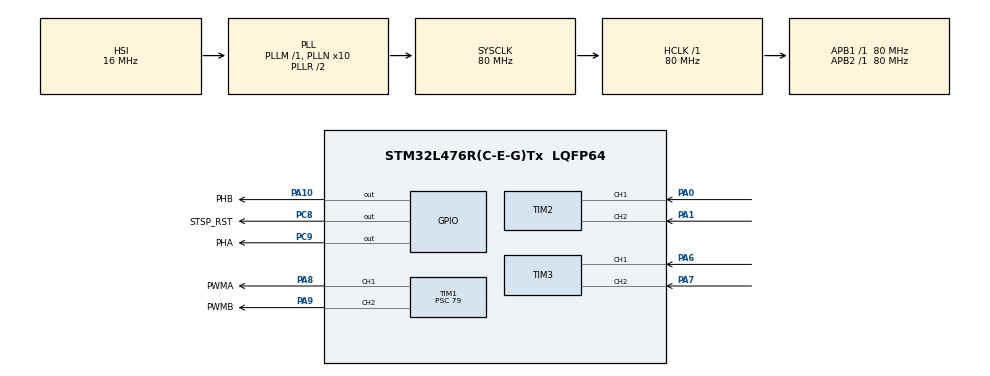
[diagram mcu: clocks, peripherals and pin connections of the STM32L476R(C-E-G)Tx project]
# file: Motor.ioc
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Mcu.Family=STM32L4
Mcu.Name=STM32L476R(C-E-G)Tx
Mcu.Package=LQFP64
NVIC.PriorityGroup=NVIC_PRIORITYGROUP_4
PA0.Signal=S_TIM2_CH1
PA1.Signal=S_TIM2_CH2
PA10.GPIO_Label=PHB
PA10.Signal=GPIO_Output
PA13\ (JTMS-SWDIO).Mode=Serial_Wire
PA13\ (JTMS-SWDIO).Signal=SYS_JTMS-SWDIO
PA14\ (JTCK-SWCLK).Mode=Serial_Wire
PA14\ (JTCK-SWCLK).Signal=SYS_JTCK-SWCLK
PA6.Signal=S_TIM3_CH1
PA7.Signal=S_TIM3_CH2
PA8.GPIO_Label=PWMA
PA8.Signal=S_TIM1_CH1
PA9.GPIO_Label=PWMB
PA9.Signal=S_TIM1_CH2
PC8.GPIO_Label=STSP_RST
PC8.Signal=GPIO_Output
PC9.GPIO_Label=PHA
PC9.Signal=GPIO_Output
ProjectManager.HeapSize=0x200
ProjectManager.StackSize=0x400
ProjectManager.TargetToolchain=MDK-ARM V5.32
RCC.ADCFreq_Value=64000000
RCC.AHBFreq_Value=80000000
RCC.APB1Freq_Value=80000000
RCC.APB1TimFreq_Value=80000000
RCC.APB2Freq_Value=80000000
RCC.APB2TimFreq_Value=80000000
RCC.CortexFreq_Value=80000000
RCC.HCLKFreq_Value=80000000
RCC.HSE_VALUE=8000000
RCC.HSI_VALUE=16000000
RCC.LSE_VALUE=32768
RCC.MSI_VALUE=4000000
RCC.PLLN=10
RCC.PLLSourceVirtual=RCC_PLLSOURCE_HSI
RCC.SYSCLKFreq_VALUE=80000000
RCC.SYSCLKSource=RCC_SYSCLKSOURCE_PLLCLK
RCC.USBFreq_Value=64000000
RCC.VCOOutputFreq_Value=160000000
SH.S_TIM1_CH1.0=TIM1_CH1,PWM Generation1 CH1
SH.S_TIM1_CH2.0=TIM1_CH2,PWM Generation2 CH2
SH.S_TIM2_CH1.0=TIM2_CH1,Encoder_Interface
SH.S_TIM2_CH2.0=TIM2_CH2,Encoder_Interface
SH.S_TIM3_CH1.0=TIM3_CH1,Encoder_Interface
SH.S_TIM3_CH2.0=TIM3_CH2,Encoder_Interface
TIM1.Channel-PWM\ Generation1\ CH1=TIM_CHANNEL_1
TIM1.Channel-PWM\ Generation2\ CH2=TIM_CHANNEL_2
TIM1.Period=999
TIM1.Prescaler=79
VP_TIM1_VS_ClockSourceINT.Mode=Internal
board=custom

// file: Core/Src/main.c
/* USER CODE BEGIN Header */
/**
  ******************************************************************************
  * @file           : main.c
  * @brief          : Main program body
  ******************************************************************************
  * @attention
  *
  * Copyright (c) 2026 STMicroelectronics.
  * All rights reserved.
  *
  * This software is licensed under terms that can be found in the LICENSE file
  * in the root directory of this software component.
  * If no LICENSE file comes with this software, it is provided AS-IS.
  *
  ******************************************************************************
  */
/* USER CODE END Header */
#include "main.h"

/* USER CODE BEGIN Includes */
#include "motor.h"
#include "encoder.h"
/* USER CODE END Includes */

/* USER CODE BEGIN PD */
uint64_t counter_A =0;
uint64_t counter_B =0;
/* USER CODE END PD */

/* USER CODE BEGIN PM */
motor_inst motor1;
motor_inst motor2;

encoder_inst encoder1;
encoder_inst encoder2;

/* USER CODE END PM */

TIM_HandleTypeDef htim1;
TIM_HandleTypeDef htim2;
TIM_HandleTypeDef htim3;

void SystemClock_Config(void);
static void MX_GPIO_Init(void);
static void MX_TIM1_Init(void);
static void MX_TIM3_Init(void);
static void MX_TIM2_Init(void);

int main(void)
{

  /* MCU Configuration--------------------------------------------------------*/

  /* Reset of all peripherals, Initializes the Flash interface and the Systick. */
  HAL_Init();

  /* Configure the system clock */
  SystemClock_Config();

  /* Initialize all configured peripherals */
  MX_GPIO_Init();
  MX_TIM1_Init();
  MX_TIM3_Init();
  MX_TIM2_Init();
  /* USER CODE BEGIN 2 */
//	HAL_TIM_PWM_Start(&htim1, TIM_CHANNEL_1);
//	HAL_TIM_PWM_Start(&htim1, TIM_CHANNEL_2);
	motor_init(&motor1,&htim1,TIM_CHANNEL_1,STSP_RST_GPIO_Port,STSP_RST_Pin,PHB_GPIO_Port,PHB_Pin);
	motor_init(&motor2,&htim1,TIM_CHANNEL_2,STSP_RST_GPIO_Port,STSP_RST_Pin,PHB_GPIO_Port,PHB_Pin);
	enable_motor(&motor1);
	enable_motor(&motor2);

	encoder_init(&encoder1,&htim2,TIM_CHANNEL_1);
	encoder_init(&encoder1,&htim2,TIM_CHANNEL_2);
	encoder_init(&encoder2,&htim3,TIM_CHANNEL_1);
	encoder_init(&encoder2,&htim3,TIM_CHANNEL_2);

  /* USER CODE END 2 */

  /* Infinite loop */
  while (1)
  {

    /* USER CODE BEGIN 3 */
//		pwm_set_duty(&htim1, TIM_CHANNEL_1,50);
//		pwm_set_duty(&htim1, TIM_CHANNEL_2,50);
		//pwm_set_duty(&htim1, TIM_CHANNEL_2,50);
		//enable_motor(&motor1);
		//set_speed_open(&motor1,150);
		//set_speed_open(&motor2,-50);
		counter_A = __HAL_TIM_GET_COUNTER(&htim2);
		counter_B = __HAL_TIM_GET_COUNTER(&htim3);

		get_encoder_speed(&encoder1);
		get_encoder_speed(&encoder2);

  }
  /* USER CODE END 3 */
}

void SystemClock_Config(void)
{
  RCC_OscInitTypeDef RCC_OscInitStruct = {0};
  RCC_ClkInitTypeDef RCC_ClkInitStruct = {0};

  /** Configure the main internal regulator output voltage
  */
  if (HAL_PWREx_ControlVoltageScaling(PWR_REGULATOR_VOLTAGE_SCALE1) != HAL_OK)
  {
    Error_Handler();
  }

  /** Initializes the RCC Oscillators according to the specified parameters
  * in the RCC_OscInitTypeDef structure.
  */
  RCC_OscInitStruct.OscillatorType = RCC_OSCILLATORTYPE_HSI;
  RCC_OscInitStruct.HSIState = RCC_HSI_ON;
  RCC_OscInitStruct.HSICalibrationValue = RCC_HSICALIBRATION_DEFAULT;
  RCC_OscInitStruct.PLL.PLLState = RCC_PLL_ON;
  RCC_OscInitStruct.PLL.PLLSource = RCC_PLLSOURCE_HSI;
  RCC_OscInitStruct.PLL.PLLM = 1;
  RCC_OscInitStruct.PLL.PLLN = 10;
  RCC_OscInitStruct.PLL.PLLP = RCC_PLLP_DIV7;
  RCC_OscInitStruct.PLL.PLLQ = RCC_PLLQ_DIV2;
  RCC_OscInitStruct.PLL.PLLR = RCC_PLLR_DIV2;
  if (HAL_RCC_OscConfig(&RCC_OscInitStruct) != HAL_OK)
  {
    Error_Handler();
  }

  /** Initializes the CPU, AHB and APB buses clocks
  */
  RCC_ClkInitStruct.ClockType = RCC_CLOCKTYPE_HCLK|RCC_CLOCKTYPE_SYSCLK
                              |RCC_CLOCKTYPE_PCLK1|RCC_CLOCKTYPE_PCLK2;
  RCC_ClkInitStruct.SYSCLKSource = RCC_SYSCLKSOURCE_PLLCLK;
  RCC_ClkInitStruct.AHBCLKDivider = RCC_SYSCLK_DIV1;
  RCC_ClkInitStruct.APB1CLKDivider = RCC_HCLK_DIV1;
  RCC_ClkInitStruct.APB2CLKDivider = RCC_HCLK_DIV1;

  if (HAL_RCC_ClockConfig(&RCC_ClkInitStruct, FLASH_LATENCY_4) != HAL_OK)
  {
    Error_Handler();
  }
}

static void MX_TIM1_Init(void)
{

  TIM_ClockConfigTypeDef sClockSourceConfig = {0};
  TIM_MasterConfigTypeDef sMasterConfig = {0};
  TIM_OC_InitTypeDef sConfigOC = {0};
  TIM_BreakDeadTimeConfigTypeDef sBreakDeadTimeConfig = {0};

  htim1.Instance = TIM1;
  htim1.Init.Prescaler = 79;
  htim1.Init.CounterMode = TIM_COUNTERMODE_UP;
  htim1.Init.Period = 999;
  htim1.Init.ClockDivision = TIM_CLOCKDIVISION_DIV1;
  htim1.Init.RepetitionCounter = 0;
  htim1.Init.AutoReloadPreload = TIM_AUTORELOAD_PRELOAD_DISABLE;
  if (HAL_TIM_Base_Init(&htim1) != HAL_OK)
  {
    Error_Handler();
  }
  sClockSourceConfig.ClockSource = TIM_CLOCKSOURCE_INTERNAL;
  if (HAL_TIM_ConfigClockSource(&htim1, &sClockSourceConfig) != HAL_OK)
  {
    Error_Handler();
  }
  if (HAL_TIM_PWM_Init(&htim1) != HAL_OK)
  {
    Error_Handler();
  }
  sMasterConfig.MasterOutputTrigger = TIM_TRGO_RESET;
  sMasterConfig.MasterOutputTrigger2 = TIM_TRGO2_RESET;
  sMasterConfig.MasterSlaveMode = TIM_MASTERSLAVEMODE_DISABLE;
  if (HAL_TIMEx_MasterConfigSynchronization(&htim1, &sMasterConfig) != HAL_OK)
  {
    Error_Handler();
  }
  sConfigOC.OCMode = TIM_OCMODE_PWM1;
  sConfigOC.Pulse = 0;
  sConfigOC.OCPolarity = TIM_OCPOLARITY_HIGH;
  sConfigOC.OCNPolarity = TIM_OCNPOLARITY_HIGH;
  sConfigOC.OCFastMode = TIM_OCFAST_DISABLE;
  sConfigOC.OCIdleState = TIM_OCIDLESTATE_RESET;
  sConfigOC.OCNIdleState = TIM_OCNIDLESTATE_RESET;
  if (HAL_TIM_PWM_ConfigChannel(&htim1, &sConfigOC, TIM_CHANNEL_1) != HAL_OK)
  {
    Error_Handler();
  }
  if (HAL_TIM_PWM_ConfigChannel(&htim1, &sConfigOC, TIM_CHANNEL_2) != HAL_OK)
  {
    Error_Handler();
  }
  sBreakDeadTimeConfig.OffStateRunMode = TIM_OSSR_DISABLE;
  sBreakDeadTimeConfig.OffStateIDLEMode = TIM_OSSI_DISABLE;
  sBreakDeadTimeConfig.LockLevel = TIM_LOCKLEVEL_OFF;
  sBreakDeadTimeConfig.DeadTime = 0;
  sBreakDeadTimeConfig.BreakState = TIM_BREAK_DISABLE;
  sBreakDeadTimeConfig.BreakPolarity = TIM_BREAKPOLARITY_HIGH;
  sBreakDeadTimeConfig.BreakFilter = 0;
  sBreakDeadTimeConfig.Break2State = TIM_BREAK2_DISABLE;
  sBreakDeadTimeConfig.Break2Polarity = TIM_BREAK2POLARITY_HIGH;
  sBreakDeadTimeConfig.Break2Filter = 0;
  sBreakDeadTimeConfig.AutomaticOutput = TIM_AUTOMATICOUTPUT_DISABLE;
  if (HAL_TIMEx_ConfigBreakDeadTime(&htim1, &sBreakDeadTimeConfig) != HAL_OK)
  {
    Error_Handler();
  }
  HAL_TIM_MspPostInit(&htim1);

}

static void MX_TIM2_Init(void)
{

  TIM_Encoder_InitTypeDef sConfig = {0};
  TIM_MasterConfigTypeDef sMasterConfig = {0};

  htim2.Instance = TIM2;
  htim2.Init.Prescaler = 0;
  htim2.Init.CounterMode = TIM_COUNTERMODE_UP;
  htim2.Init.Period = 4294967295;
  htim2.Init.ClockDivision = TIM_CLOCKDIVISION_DIV1;
  htim2.Init.AutoReloadPreload = TIM_AUTORELOAD_PRELOAD_DISABLE;
  sConfig.EncoderMode = TIM_ENCODERMODE_TI1;
  sConfig.IC1Polarity = TIM_ICPOLARITY_RISING;
  sConfig.IC1Selection = TIM_ICSELECTION_DIRECTTI;
  sConfig.IC1Prescaler = TIM_ICPSC_DIV1;
  sConfig.IC1Filter = 0;
  sConfig.IC2Polarity = TIM_ICPOLARITY_RISING;
  sConfig.IC2Selection = TIM_ICSELECTION_DIRECTTI;
  sConfig.IC2Prescaler = TIM_ICPSC_DIV1;
  sConfig.IC2Filter = 0;
  if (HAL_TIM_Encoder_Init(&htim2, &sConfig) != HAL_OK)
  {
    Error_Handler();
  }
  sMasterConfig.MasterOutputTrigger = TIM_TRGO_RESET;
  sMasterConfig.MasterSlaveMode = TIM_MASTERSLAVEMODE_DISABLE;
  if (HAL_TIMEx_MasterConfigSynchronization(&htim2, &sMasterConfig) != HAL_OK)
  {
    Error_Handler();
  }

}

static void MX_TIM3_Init(void)
{

  TIM_Encoder_InitTypeDef sConfig = {0};
  TIM_MasterConfigTypeDef sMasterConfig = {0};

  htim3.Instance = TIM3;
  htim3.Init.Prescaler = 0;
  htim3.Init.CounterMode = TIM_COUNTERMODE_UP;
  htim3.Init.Period = 65535;
  htim3.Init.ClockDivision = TIM_CLOCKDIVISION_DIV1;
  htim3.Init.AutoReloadPreload = TIM_AUTORELOAD_PRELOAD_DISABLE;
  sConfig.EncoderMode = TIM_ENCODERMODE_TI1;
  sConfig.IC1Polarity = TIM_ICPOLARITY_RISING;
  sConfig.IC1Selection = TIM_ICSELECTION_DIRECTTI;
  sConfig.IC1Prescaler = TIM_ICPSC_DIV1;
  sConfig.IC1Filter = 0;
  sConfig.IC2Polarity = TIM_ICPOLARITY_RISING;
  sConfig.IC2Selection = TIM_ICSELECTION_DIRECTTI;
  sConfig.IC2Prescaler = TIM_ICPSC_DIV1;
  sConfig.IC2Filter = 0;
  if (HAL_TIM_Encoder_Init(&htim3, &sConfig) != HAL_OK)
  {
    Error_Handler();
  }
  sMasterConfig.MasterOutputTrigger = TIM_TRGO_RESET;
  sMasterConfig.MasterSlaveMode = TIM_MASTERSLAVEMODE_DISABLE;
  if (HAL_TIMEx_MasterConfigSynchronization(&htim3, &sMasterConfig) != HAL_OK)
  {
    Error_Handler();
  }

}

static void MX_GPIO_Init(void)
{
  GPIO_InitTypeDef GPIO_InitStruct = {0};

  /* GPIO Ports Clock Enable */
  __HAL_RCC_GPIOA_CLK_ENABLE();
  __HAL_RCC_GPIOC_CLK_ENABLE();

  /*Configure GPIO pin Output Level */
  HAL_GPIO_WritePin(GPIOC, STSP_RST_Pin|PHA_Pin, GPIO_PIN_RESET);

  /*Configure GPIO pin Output Level */
  HAL_GPIO_WritePin(PHB_GPIO_Port, PHB_Pin, GPIO_PIN_RESET);

  /*Configure GPIO pins : STSP_RST_Pin PHA_Pin */
  GPIO_InitStruct.Pin = STSP_RST_Pin|PHA_Pin;
  GPIO_InitStruct.Mode = GPIO_MODE_OUTPUT_PP;
  GPIO_InitStruct.Pull = GPIO_NOPULL;
  GPIO_InitStruct.Speed = GPIO_SPEED_FREQ_LOW;
  HAL_GPIO_Init(GPIOC, &GPIO_InitStruct);

  /*Configure GPIO pin : PHB_Pin */
  GPIO_InitStruct.Pin = PHB_Pin;
  GPIO_InitStruct.Mode = GPIO_MODE_OUTPUT_PP;
  GPIO_InitStruct.Pull = GPIO_NOPULL;
  GPIO_InitStruct.Speed = GPIO_SPEED_FREQ_LOW;
  HAL_GPIO_Init(PHB_GPIO_Port, &GPIO_InitStruct);

}

void Error_Handler(void)
{
  __disable_irq();
  while (1)
  {
  }
}
